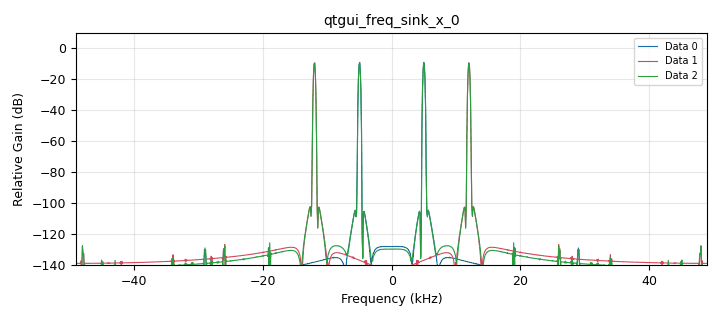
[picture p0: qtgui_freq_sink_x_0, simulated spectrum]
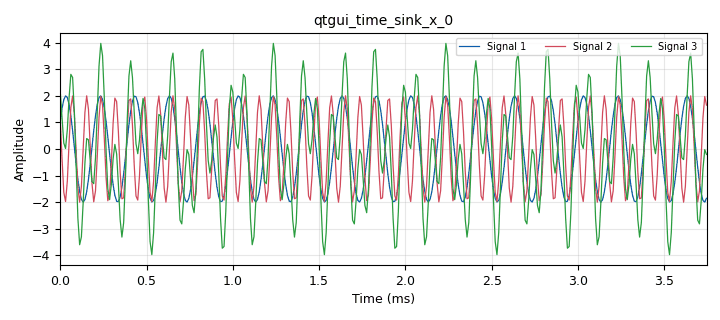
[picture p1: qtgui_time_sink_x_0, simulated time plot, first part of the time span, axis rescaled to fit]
options:
  parameters:
    author: zoe
    generate_options: qt_gui
    id: lab2_1
    output_language: python
    title: Not titled yet
  states: {}

blocks:
- name: samp_rate
  id: variable
  parameters:
    value: '98000'
  states: {}
- name: analog_sig_source_x_0_0
  id: analog_sig_source_x
  parameters:
    amp: '2'
    freq: '12000'
    offset: '0'
    phase: '0'
    samp_rate: samp_rate
    type: float
    waveform: analog.GR_SIN_WAVE
  states: {}
- name: analog_sig_source_x_0_0_0
  id: analog_sig_source_x
  parameters:
    amp: '2'
    freq: '5000'
    offset: '0'
    phase: '0'
    samp_rate: samp_rate
    type: float
    waveform: analog.GR_COS_WAVE
  states: {}
- name: blocks_add_xx_0
  id: blocks_add_xx
  parameters:
    type: float
  states: {}
- name: blocks_throttle_0
  id: blocks_throttle
  parameters:
    samples_per_second: '33000'
    type: float
  states: {}
- name: qtgui_freq_sink_x_0
  id: qtgui_freq_sink_x
  parameters:
    bw: samp_rate
    fc: '0'
    fftsize: '1024'
    nconnections: '3'
    type: float
  states: {}
- name: qtgui_time_sink_x_0
  id: qtgui_time_sink_x
  parameters:
    nconnections: '3'
    size: '1024'
    srate: samp_rate
    type: float
  states: {}

connections:
- [analog_sig_source_x_0_0, '0', blocks_add_xx_0, '1']
- [analog_sig_source_x_0_0, '0', blocks_throttle_0, '0']
- [analog_sig_source_x_0_0_0, '0', blocks_add_xx_0, '0']
- [analog_sig_source_x_0_0_0, '0', qtgui_freq_sink_x_0, '0']
- [analog_sig_source_x_0_0_0, '0', qtgui_time_sink_x_0, '0']
- [blocks_add_xx_0, '0', qtgui_freq_sink_x_0, '2']
- [blocks_add_xx_0, '0', qtgui_time_sink_x_0, '2']
- [blocks_throttle_0, '0', qtgui_freq_sink_x_0, '1']
- [blocks_throttle_0, '0', qtgui_time_sink_x_0, '1']

metadata:
  file_format: 1
  grc_version: 3.10.5.1
